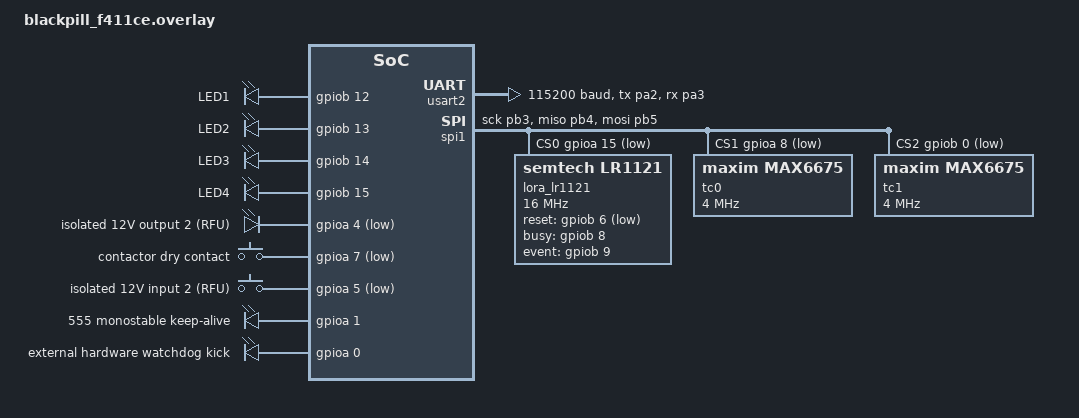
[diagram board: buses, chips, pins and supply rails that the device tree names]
/*
 * Copyright (c) 2025 Semtech Corporation
 * Copyright (c) 2026 Guilherme Luiz Moritz
 *
 * SPDX-License-Identifier: Apache-2.0
 *
 * Board overlay: WeAct STM32F411CE "Black Pill" + Waveshare Core1121-XF (LR1121)
 * + two MAX6675 thermocouples on the shared SPI1 bus.
 *
 * Pin map — DUAL-SOCKET CARRIER. The carrier accepts EITHER this BlackPill OR an
 * ESP32-C6 mini in overlapped, nested 2.54 mm socket rows, so every net lands on
 * both. The STM32 is the ANCHOR of the assignment: its SPI/USART pins are fixed
 * alternate functions, whereas the C6's GPIO matrix can follow anywhere.
 * Carrier row index b = y / 2.54 counted from the BlackPill's USB-C end.
 *
 *   LEFT row                          RIGHT row
 *   b0  PB12  LED1 (BlackPill only)   b6   PB0   MAX6675 #2 CS
 *   b1  PB13  LED2 (BlackPill only)   b7   PA7   opto IN1 (contactor)
 *   b2  PB14  LED3 (BlackPill only)   b9   PA5   opto IN2 (RFU)
 *   b3  PB15  LED4 (BlackPill only)   b10  PA4   opto OUT2 (RFU)
 *   b4  PA8   MAX6675 #1 CS           b11  PA3   USART2 RX
 *   b9  PA15  LR1121 NSS              b12  PA2   USART2 TX (console)
 *   b10 PB3   SPI1 SCK                b13  PA1   555 keep-alive
 *   b11 PB4   SPI1 MISO               b14  PA0   hardware watchdog kick
 *   b12 PB5   SPI1 MOSI
 *   b13 PB6   LR1121 NRESET           shared spare: PA6
 *   b14 PB7   reserved - see below
 *   b15 PB8   LR1121 BUSY
 *   b16 PB9   LR1121 DIO9
 *
 * PB7 (b14-left) is deliberately UNROUTED: its ESP32-C6 partner is GPIO8, which
 * drives that module's onboard addressable RGB LED. Leaving the pair NC is what
 * keeps the C6's indicator usable.
 *
 * Unusable on this board: PA11/PA12 (USB D-/D+ - BANNED from carrier nets, see
 * the cs-gpios comment), PB2 (BOOT1, outside the C6 span), PC13 (onboard LED,
 * weak RTC pin), PC14/PC15 (32.768 kHz LSE crystal, populated), VBat (sits
 * 3.81 mm from the C6 5V pad - never bridge).
 *
 * SPI1 uses its PB3/PB4/PB5 alternate mapping (not PA5/PA6/PA7) so all three bus
 * signals are consecutive on ONE socket row — that single change is what makes
 * the carrier fanout crossing-free. PA15/PB3/PB4 are JTAG pins with reset
 * pull-ups: harmless with SWD-only debug, and PA15's pull-up usefully holds
 * LR1121 NSS deasserted before firmware runs.
 *
 * Console moves from USART1 (PA9/PA10) to USART2 (PA2/PA3): PA9/PA10 sit at
 * carrier rows b5/b6 of the LEFT row, where the C6's neighbours are GND and 3V3
 * — unusable. USART2 is the only shared UART, so it is BOTH the debug console
 * and the Radioenge AT port. Those cannot coexist: build with the `at_modem`
 * snippet when a Radioenge is fitted (see snippets/at_modem/).
 *
 * The tx-power / rssi / current tables below are LR1121-MB1 reference values and
 * must be recalibrated for the Core1121-XF BOM (same as the esp32c6 overlay).
 */

#include <zephyr/dt-bindings/usp/lr11xx.h>
#include <zephyr/dt-bindings/input/input-event-codes.h>

/* LoRaWAN credentials (DevEUI / JoinEUI / AppKey / region). */
#include "user_keys.overlay"

/ {
	chosen {
		zephyr,lorawan-transceiver = &lora_lr1121;
		/* Console follows the carrier's shared UART (see header). */
		zephyr,console = &usart2;
		zephyr,shell-uart = &usart2;
	};
	aliases {
		lora-transceiver = &lora_lr1121;
		tc0 = &tc0;
		tc1 = &tc1;
		keepalive-out = &keepalive_out;
		hw-wdt-out = &hw_wdt_out;
		opto-out2 = &opto_out2;
		opto-in1 = &opto_in1;
		opto-in2 = &opto_in2;
		atuart = &usart2;
		led0 = &led1;
		led1 = &led2;
		led2 = &led3;
		led3 = &led4;
	};

	/*
	 * Status LEDs. BlackPill-ONLY - the deliberate exception to the carrier's
	 * parity rule. PB12-PB15 sit at rows b0-b3, which have no ESP32-C6 neighbour
	 * at all, so four LEDs there cost nothing the C6 could have used. On the C6
	 * the equivalent indication comes from its onboard RGB LED (GPIO8), which is
	 * why row b14-left is left unrouted. Neither target loses a function; only
	 * the form of the indication differs.
	 */
	status_leds {
		compatible = "gpio-leds";
		led1: led_1 { gpios = <&gpiob 12 GPIO_ACTIVE_HIGH>; label = "LED1"; };
		led2: led_2 { gpios = <&gpiob 13 GPIO_ACTIVE_HIGH>; label = "LED2"; };
		led3: led_3 { gpios = <&gpiob 14 GPIO_ACTIVE_HIGH>; label = "LED3"; };
		led4: led_4 { gpios = <&gpiob 15 GPIO_ACTIVE_HIGH>; label = "LED4"; };
	};

	/* Isolated 12 V field I/O - see the esp32c6 overlay for the full rationale. */
	opto_outputs {
		compatible = "gpio-leds";
		opto_out2: out2 {
			gpios = <&gpioa 4 GPIO_ACTIVE_LOW>;     /* OUT2_3V3 - PA4, b10-right (D15) */
			label = "isolated 12V output 2 (RFU)";
		};
	};

	/* Both inputs active low with external pull-ups: a failed or unpowered
	 * optocoupler reads as asserted, so a welded contactor fails to alarm. */
	opto_inputs {
		compatible = "gpio-keys";
		opto_in1: in1 {
			gpios = <&gpioa 7 (GPIO_ACTIVE_LOW | GPIO_PULL_UP)>;   /* IN1_3V3 - PA7, b7-right (D3) */
			label = "contactor dry contact";
			zephyr,code = <INPUT_KEY_0>;
		};
		opto_in2: in2 {
			gpios = <&gpioa 5 (GPIO_ACTIVE_LOW | GPIO_PULL_UP)>;   /* IN2_3V3 - PA5, b9-right (D23) */
			label = "isolated 12V input 2 (RFU)";
			zephyr,code = <INPUT_KEY_1>;
		};
	};

	/* Software-toggled failsafe outputs (NOT hardware PWM) — pulses must stop
	 * when firmware hangs. See the esp32c6 overlay for the full rationale. */
	failsafe_outputs {
		compatible = "gpio-leds";
		keepalive_out: keepalive {
			gpios = <&gpioa 1 GPIO_ACTIVE_HIGH>;    /* LM555_ON_PULSE - PA1, b13-right (D21) */
			label = "555 monostable keep-alive";
		};
		hw_wdt_out: hw-wdt {
			gpios = <&gpioa 0 GPIO_ACTIVE_HIGH>;    /* OUT1_3V3 - PA0, b14-right (D20) */
			label = "external hardware watchdog kick";
		};
	};
};

/*
 * Shared UART. PA9/PA10 (USART1, the board default) are unusable on the carrier:
 * at rows b5/b6 their ESP32-C6 neighbours are GND and 3V3. USART2 on PA2/PA3 is
 * the only UART both sockets can reach.
 */
&usart1 {
	status = "disabled";
};

&usart2 {
	pinctrl-0 = <&usart2_tx_pa2 &usart2_rx_pa3>;
	pinctrl-names = "default";
	current-speed = <115200>;
	status = "okay";
};

&spi1 {
	status = "okay";
	/* Override the board default SPI1 pinctrl (PA5/PA6/PA7 + PA4 NSS) with the
	 * PB3/PB4/PB5 alternate mapping, so the whole bus is one contiguous run of
	 * socket rows b10-b12. Every chip select is driven as a GPIO. */
	pinctrl-0 = <&spi1_sck_pb3 &spi1_miso_pb4 &spi1_mosi_pb5>;
	pinctrl-names = "default";

	/*
	 * One CS per device on the shared bus, indexed by each child's `reg`.
	 *
	 * TC1_CS is on PA8 (b4-left), NOT on PA12 at b8-left where its ESP32-C6
	 * partner D4 sits. PA11/PA12 are the BlackPill's USB D-/D+ and are banned
	 * from carrier nets: D+ carries a 1.5k pull-up, and both contend with a USB
	 * cable that gets plugged in routinely for flashing and power. This net is
	 * therefore a ~10 mm run up the left column from D4 (b8) to PA8 (b4) through
	 * dead space, and it ends up closer to the MAX6675 header on the top edge
	 * than PA12 was. The C6 end is unchanged.
	 */
	cs-gpios = <&gpioa 15 GPIO_ACTIVE_LOW>,  /* LR1121_SSEL  (PA15, b9-left) */
		   <&gpioa 8 GPIO_ACTIVE_LOW>,   /* TEMP1_SSEL   (PA8,  b4-left) */
		   <&gpiob 0 GPIO_ACTIVE_LOW>;   /* TEMP2_SSEL   (PB0,  b6-right) */

	lora_lr1121: lora@0 {
		compatible = "semtech,lr1121";
		reg = <0>;
		spi-max-frequency = <DT_FREQ_M(16)>;

		reset-gpios = <&gpiob 6 GPIO_ACTIVE_LOW>;                        /* LR1121_RESET - PB6, b13 (D1) */
		busy-gpios  = <&gpiob 8 GPIO_ACTIVE_HIGH>;                       /* LR1121_BUSY  - PB8, b15 (D10) */
		event-gpios = <&gpiob 9 (GPIO_ACTIVE_HIGH | GPIO_PULL_DOWN)>;    /* LR1121_IRQ   - PB9, b16 (D11) */

		/* TODO: confirm against Core1121 R3/R4 population (HP only vs LP+HP). */
		lf-tx-path = <LR11XX_TX_PATH_LF_LP_HP>;

		lf-clk = <LR11XX_LFCLK_XTAL>;
		reg-mode = <LR11XX_REG_MODE_DCDC>;

		rf-sw-enable     = <(LR11XX_DIO5 | LR11XX_DIO6)>;
		rf-sw-rx-mode    = <LR11XX_DIO6>;
		rf-sw-tx-mode    = <LR11XX_DIO6>;
		rf-sw-tx-hp-mode = <LR11XX_DIO6>;
		rf-sw-tx-hf-mode = <LR11XX_DIO5>;
		rf-sw-wifi-mode  = <LR11XX_DIO5>;
		rf-sw-gnss-mode  = <LR11XX_DIO5>;

		tcxo-voltage = <LR11XX_TCXO_SUPPLY_1_8V>;
		tcxo-wakeup-time = <5>;

		tx-power-cfg-lf-lp =
		/* power, pa_duty_cycle, pa_hp_sel */
		<(-15) 0x00 0x00>, /* Expected output power = -17dBm */
		<(-14) 0x00 0x00>, /* Expected output power = -16dBm */
		<(-13) 0x00 0x00>, /* Expected output power = -15dBm */
		<(-12) 0x00 0x00>, /* Expected output power = -14dBm */
		<(-11) 0x00 0x00>, /* Expected output power = -13dBm */
		<(-9) 0x00 0x00>, /* Expected output power = -12dBm */
		<(-8) 0x00 0x00>, /* Expected output power = -11dBm */
		<(-7) 0x00 0x00>, /* Expected output power = -10dBm */
		<(-6) 0x00 0x00>, /* Expected output power = -9dBm */
		<(-5) 0x00 0x00>, /* Expected output power = -8dBm */
		<(-4) 0x00 0x00>, /* Expected output power = -7dBm */
		<(-3) 0x00 0x00>, /* Expected output power = -6dBm */
		<(-2) 0x00 0x00>, /* Expected output power = -5dBm */
		<(-1) 0x00 0x00>, /* Expected output power = -4dBm */
		<( 0) 0x00 0x00>, /* Expected output power = -3dBm */
		<( 1) 0x00 0x00>, /* Expected output power = -2dBm */
		<( 2) 0x00 0x00>, /* Expected output power = -1dBm */
		<( 3) 0x00 0x00>, /* Expected output power = 0dBm */
		<( 3) 0x01 0x00>, /* Expected output power = 1dBm */
		<( 4) 0x01 0x00>, /* Expected output power = 2dBm */
		<( 7) 0x00 0x00>, /* Expected output power = 3dBm */
		<( 8) 0x00 0x00>, /* Expected output power = 4dBm */
		<( 9) 0x00 0x00>, /* Expected output power = 5dBm */
		<( 10) 0x00 0x00>, /* Expected output power = 6dBm */
		<( 12) 0x00 0x00>, /* Expected output power = 7dBm */
		<( 13) 0x00 0x00>, /* Expected output power = 8dBm */
		<( 14) 0x00 0x00>, /* Expected output power = 9dBm */
		<( 13) 0x01 0x00>, /* Expected output power = 10dBm */
		<( 13) 0x02 0x00>, /* Expected output power = 11dBm */
		<( 14) 0x02 0x00>, /* Expected output power = 12dBm */
		<( 14) 0x03 0x00>, /* Expected output power = 13dBm */
		<( 14) 0x04 0x00>, /* Expected output power = 14dBm */
		<( 14) 0x07 0x00>; /* Expected output power = 15dBm */

		tx-power-cfg-lf-hp =
		/* power, pa_duty_cycle, pa_hp_sel */
		<(  9) 0x00 0x00>, /* Expected output power = -9dBm */
		<( 10) 0x00 0x00>, /* Expected output power = -8dBm */
		<( 11) 0x00 0x00>, /* Expected output power = -7dBm */
		<( 12) 0x00 0x00>, /* Expected output power = -6dBm */
		<( 13) 0x00 0x00>, /* Expected output power = -5dBm */
		<( 13) 0x01 0x00>, /* Expected output power = -4dBm */
		<( 13) 0x02 0x00>, /* Expected output power = -3dBm */
		<( 17) 0x02 0x00>, /* Expected output power = -2dBm */
		<( 14) 0x04 0x00>, /* Expected output power = -1dBm */
		<( 12) 0x00 0x01>, /* Expected output power = 0dBm */
		<( 13) 0x00 0x01>, /* Expected output power = 1dBm */
		<( 13) 0x01 0x01>, /* Expected output power = 2dBm */
		<( 13) 0x02 0x01>, /* Expected output power = 3dBm */
		<( 15) 0x00 0x02>, /* Expected output power = 4dBm */
		<( 15) 0x04 0x01>, /* Expected output power = 5dBm */
		<( 14) 0x02 0x02>, /* Expected output power = 6dBm */
		<( 14) 0x01 0x03>, /* Expected output power = 7dBm */
		<( 17) 0x04 0x02>, /* Expected output power = 8dBm */
		<( 22) 0x00 0x01>, /* Expected output power = 9dBm */
		<( 22) 0x01 0x01>, /* Expected output power = 10dBm */
		<( 22) 0x02 0x01>, /* Expected output power = 11dBm */
		<( 22) 0x03 0x01>, /* Expected output power = 12dBm */
		<( 22) 0x00 0x03>, /* Expected output power = 13dBm */
		<( 22) 0x01 0x03>, /* Expected output power = 14dBm */
		<( 22) 0x04 0x02>, /* Expected output power = 15dBm */
		<( 22) 0x01 0x04>, /* Expected output power = 16dBm */
		<( 22) 0x02 0x04>, /* Expected output power = 17dBm */
		<( 22) 0x01 0x06>, /* Expected output power = 18dBm */
		<( 22) 0x03 0x05>, /* Expected output power = 19dBm */
		<( 22) 0x03 0x07>, /* Expected output power = 20dBm */
		<( 22) 0x04 0x06>, /* Expected output power = 21dBm */
		<( 22) 0x04 0x07>; /* Expected output power = 22dBm */

		tx-power-cfg-hf =
		/* power, pa_duty_cycle, pa_hp_sel */
		<(-18) 0x04 0x00>, //Expected output power = -18dBm
		<(-18) 0x04 0x00>, /* Expected output power = -17dBm */
		<(-17) 0x04 0x00>, /* Expected output power = -16dBm */
		<(-16) 0x04 0x00>, /* Expected output power = -15dBm */
		<(-15) 0x04 0x00>, /* Expected output power = -14dBm */
		<(-14) 0x04 0x00>, /* Expected output power = -13dBm */
		<(-14) 0x04 0x00>, /* Expected output power = -12dBm */
		<(-12) 0x04 0x00>, /* Expected output power = -11dBm */
		<(-10) 0x04 0x00>, /* Expected output power = -10dBm */
		<( -9) 0x04 0x00>, /* Expected output power = -9dBm */
		<( -8) 0x04 0x00>, /* Expected output power = -8dBm */
		<( -7) 0x04 0x00>, /* Expected output power = -7dBm */
		<( -6) 0x04 0x00>, /* Expected output power = -6dBm */
		<( -5) 0x04 0x00>, /* Expected output power = -5dBm */
		<( -4) 0x04 0x00>, /* Expected output power = -4dBm */
		<( -3) 0x04 0x00>, /* Expected output power = -3dBm */
		<( -2) 0x03 0x00>, /* Expected output power = -2dBm */
		<( -1) 0x04 0x00>, /* Expected output power = -1dBm */
		<(  0) 0x04 0x00>, /* Expected output power = 0dBm */
		<(  1) 0x00 0x00>, /* Expected output power = 1dBm */
		<(  2) 0x00 0x00>, /* Expected output power = 2dBm */
		<(  4) 0x04 0x00>, /* Expected output power = 3dBm */
		<(  5) 0x04 0x00>, /* Expected output power = 4dBm */
		<(  6) 0x04 0x00>, /* Expected output power = 5dBm */
		<(  7) 0x04 0x00>, /* Expected output power = 6dBm */
		<(  8) 0x04 0x00>, /* Expected output power = 7dBm */
		<(  9) 0x04 0x00>, /* Expected output power = 8dBm */
		<( 10) 0x04 0x00>, /* Expected output power = 9dBm */
		<( 11) 0x04 0x00>, /* Expected output power = 10dBm */
		<( 12) 0x03 0x00>, /* Expected output power = 11dBm */
		<( 13) 0x04 0x00>, /* Expected output power = 12dBm */
		<( 13) 0x00 0x00>; /* Expected output power = 13dBm */


		/* Tune is G4 G5 G6 G7 G8 G9 G10 G11 G12 G13
		 * G13hp1 G13hp2 G13hp3 G13hp4 G13hp5 G13hp6 G13hp7
		 */
		rssi-calibration-lf-offset = <0>;
		rssi-calibration-lf-tune = <12 12 14 0 1 3 4 4 3 6 6 6 6 6 6 6 6>;

		rssi-calibration-mf-offset = <0>;
		rssi-calibration-mf-tune = <2 2 2 3 3 4 5 4 4 6 5 5 6 6 6 7 6>;

		rssi-calibration-hf-offset = <2030>;
		rssi-calibration-hf-tune = <6 7 6 4 3 4 14 12 14 12 12 12 12 8 8 9 9>;

		// Current consumptions
		tx-dbm-to-ua-reg-mode-dcdc-lf-lp-vreg = <
		10820 /* -17 dBm */
		10980 /* -16 dBm */
		11060 /* -15 dBm */
		11160 /* -14 dBm */
		11300 /* -13 dBm */
		11430 /* -12 dBm */
		11550 /* -11 dBm */
		11680 /* -10 dBm */
		11930 /*  -9 dBm */
		12170 /*  -8 dBm */
		12420 /* -7 dBm */
		12650 /* -6 dBm */
		12900 /* -5 dBm */
		13280 /* -4 dBm */
		13600 /* -3 dBm */
		14120 /* -2 dBm */
		14600 /* -1 dBm */
		15090 /*  0 dBm */
		15780 /*  1 dBm */
		16490 /*  2 dBm */
		17250 /*  3 dBm */
		17850 /*  4 dBm */
		18720 /*  5 dBm */
		19640 /*  6 dBm */
		20560 /*  7 dBm */
		21400 /*  8 dBm */
		22620 /*  9 dBm */
		23720 /* 10 dBm */
		25050 /* 11 dBm */
		26350 /* 12 dBm */
		27870 /* 13 dBm */
		28590 /* 14 dBm */
		37820 /* 15 dBm */
		>;

		tx-dbm-to-ua-reg-mode-ldo-lf-lp-vreg = <
		14950 /* -17 dBm */
		15280 /* -16 dBm */
		15530 /* -15 dBm */
		15770 /* -14 dBm */
		16020 /* -13 dBm */
		16290 /* -12 dBm */
		16550 /* -11 dBm */
		16760 /* -10 dBm */
		17280 /*  -9 dBm */
		17770 /*  -8 dBm */
		18250 /* -7 dBm */
		18750 /* -6 dBm */
		19250 /* -5 dBm */
		19960 /* -4 dBm */
		20710 /* -3 dBm */
		21620 /* -2 dBm */
		22570 /* -1 dBm */
		23570 /*  0 dBm */
		24990 /*  1 dBm */
		26320 /*  2 dBm */
		27830 /*  3 dBm */
		29070 /*  4 dBm */
		30660 /*  5 dBm */
		32490 /*  6 dBm */
		34220 /*  7 dBm */
		35820 /*  8 dBm */
		38180 /*  9 dBm */
		40220 /* 10 dBm */
		42800 /* 11 dBm */
		45030 /* 12 dBm */
		47900 /* 13 dBm */
		51220 /* 14 dBm */
		66060 /* 15 dBm */
		>;

		tx-dbm-to-ua-reg-mode-dcdc-lf-hp-vbat = <
		27750  /*  -9 dBm */
		29100  /*  -8 dBm */
		30320  /*  -7 dBm */
		31650  /*  -6 dBm */
		34250  /*  -5 dBm */
		35550  /*  -4 dBm */
		36770  /*  -3 dBm */
		39250  /*  -2 dBm */
		41480  /*  -1 dBm */
		43820  /*   0 dBm */
		46000  /*  1 dBm */
		49020  /*  2 dBm */
		50900  /*  3 dBm */
		54200  /*  4 dBm */
		56330  /*  5 dBm */
		59050  /*  6 dBm */
		62210  /*  7 dBm */
		65270  /*  8 dBm */
		68600  /*  9 dBm */
		71920  /* 10 dBm */
		75500  /* 11 dBm */
		79500  /* 12 dBm */
		84130  /* 13 dBm */
		88470  /* 14 dBm */
		92200  /* 15 dBm */
		94340  /* 16 dBm */
		96360  /* 17 dBm */
		98970  /* 18 dBm */
		102220 /* 19 dBm */
		106250 /* 20 dBm */
		111300 /* 21 dBm */
		113040 /* 22 dBm */
		>;

		tx-dbm-to-ua-reg-mode-ldo-lf-hp-vbat = <
		31310  /*  -9 dBm */
		32700  /*  -8 dBm */
		33970  /*  -7 dBm */
		35270  /*  -6 dBm */
		37900  /*  -5 dBm */
		39140  /*  -4 dBm */
		40380  /*  -3 dBm */
		42860  /*  -2 dBm */
		45150  /*  -1 dBm */
		47400  /*   0 dBm */
		49600  /*  1 dBm */
		52600  /*  2 dBm */
		54460  /*  3 dBm */
		57690  /*  4 dBm */
		59840  /*  5 dBm */
		62550  /*  6 dBm */
		65750  /*  7 dBm */
		68520  /*  8 dBm */
		72130  /*  9 dBm */
		75230  /* 10 dBm */
		78600  /* 11 dBm */
		82770  /* 12 dBm */
		87450  /* 13 dBm */
		91700  /* 14 dBm */
		95330  /* 15 dBm */
		97520  /* 16 dBm */
		99520  /* 17 dBm */
		102080 /* 18 dBm */
		105140 /* 19 dBm */
		109300 /* 20 dBm */
		114460 /* 21 dBm */
		116530 /* 22 dBm */
		>;

		tx-dbm-to-ua-reg-mode-dcdc-hf-vreg = <
		11800 /* -18 dBm */
		11800 /* -17 dBm */
		11800 /* -16 dBm */
		11900 /* -15 dBm */
		12020 /* -14 dBm */
		12120 /* -13 dBm */
		12230 /* -12 dBm */
		12390 /* -11 dBm */
		12540 /* -10 dBm */
		12740 /*  -9 dBm */
		12960 /* -8 dBm */
		13150 /* -7 dBm */
		13460 /* -6 dBm */
		13770 /* -5 dBm */
		14070 /* -4 dBm */
		14460 /* -3 dBm */
		15030 /* -2 dBm */
		15440 /* -1 dBm */
		16030 /*  0 dBm */
		16980 /*  1 dBm */
		17590 /*  2 dBm */
		18270 /*  3 dBm */
		19060 /*  4 dBm */
		19900 /*  5 dBm */
		20740 /*  6 dBm */
		21610 /*  7 dBm */
		22400 /*  8 dBm */
		23370 /*  9 dBm */
		24860 /* 10 dBm */
		26410 /* 11 dBm */
		26430 /* 12 dBm */
		27890 /* 13 dBm */
		>;
	};

	/*
	 * Two MAX6675 K-type thermocouple-to-digital converters sharing SPI1.
	 * Read-only (SCK + SO/MISO + CS; no MOSI); SO tri-states when deselected.
	 */
	tc0: max6675@1 {
		compatible = "maxim,max6675";
		reg = <1>;                          /* CS index 1 -> PA3 */
		spi-max-frequency = <DT_FREQ_M(4)>;
	};

	tc1: max6675@2 {
		compatible = "maxim,max6675";
		reg = <2>;                          /* CS index 2 -> PA2 */
		spi-max-frequency = <DT_FREQ_M(4)>;
	};
};

/*
 * STM32F411CE has no storage_partition, and its default MCUboot slots (128K) are
 * far too small for USP (~400K). Use a bare (non-MCUboot) layout: a large code
 * partition plus a 128K storage sector. On STM32F4 the top flash sector is 128K
 * (the smallest independently erasable unit up there), so storage = that sector.
 */
/ {
	chosen {
		zephyr,code-partition = &slot0_partition;
	};
};

&flash0 {
	/delete-node/ partitions;

	partitions {
		compatible = "fixed-partitions";
		#address-cells = <1>;
		#size-cells = <1>;

		slot0_partition: partition@0 {
			label = "image-0";
			reg = <0x00000000 DT_SIZE_K(384)>;
		};
		storage_partition: partition@60000 {
			label = "storage";
			reg = <0x00060000 DT_SIZE_K(128)>;
		};
	};
};
